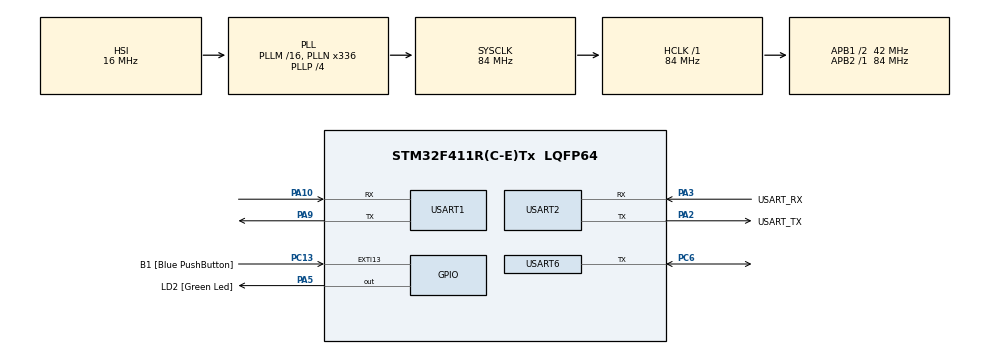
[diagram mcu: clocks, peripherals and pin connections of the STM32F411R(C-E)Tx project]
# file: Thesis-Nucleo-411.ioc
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Mcu.Family=STM32F4
Mcu.Name=STM32F411R(C-E)Tx
Mcu.Package=LQFP64
NVIC.PriorityGroup=NVIC_PRIORITYGROUP_0
PA10.Mode=Asynchronous
PA10.Signal=USART1_RX
PA13.GPIO_Label=TMS
PA13.Signal=SYS_JTMS-SWDIO
PA14.GPIO_Label=TCK
PA14.Signal=SYS_JTCK-SWCLK
PA2.GPIO_Label=USART_TX
PA2.Mode=Asynchronous
PA2.Signal=USART2_TX
PA3.GPIO_Label=USART_RX
PA3.Mode=Asynchronous
PA3.Signal=USART2_RX
PA5.GPIO_Label=LD2 [Green Led]
PA5.Signal=GPIO_Output
PA9.Mode=Asynchronous
PA9.Signal=USART1_TX
PB3.GPIO_Label=SWO
PB3.Signal=SYS_JTDO-SWO
PC13-ANTI_TAMP.GPIO_Label=B1 [Blue PushButton]
PC13-ANTI_TAMP.GPIO_ModeDefaultEXTI=GPIO_MODE_IT_FALLING
PC13-ANTI_TAMP.Signal=GPXTI13
PC14-OSC32_IN.Signal=RCC_OSC32_IN
PC15-OSC32_OUT.Signal=RCC_OSC32_OUT
PC6.Mode=Half_duplex(single_wire_mode)
PC6.Signal=USART6_TX
PH0\ -\ OSC_IN.Signal=RCC_OSC_IN
PH1\ -\ OSC_OUT.Signal=RCC_OSC_OUT
ProjectManager.HeapSize=0x200
ProjectManager.StackSize=0x400
ProjectManager.TargetToolchain=STM32CubeIDE
RCC.48MHZClocksFreq_Value=84000000
RCC.AHBFreq_Value=84000000
RCC.APB1CLKDivider=RCC_HCLK_DIV2
RCC.APB1Freq_Value=42000000
RCC.APB1TimFreq_Value=84000000
RCC.APB2Freq_Value=84000000
RCC.APB2TimFreq_Value=84000000
RCC.CortexFreq_Value=84000000
RCC.FLatency-AdvancedSettings=FLASH_LATENCY_2
RCC.HCLKFreq_Value=84000000
RCC.HSE_VALUE=8000000
RCC.HSI_VALUE=16000000
RCC.LSE_VALUE=32768
RCC.PLLN=336
RCC.PLLP=RCC_PLLP_DIV4
RCC.SYSCLKFreq_VALUE=84000000
RCC.SYSCLKSource=RCC_SYSCLKSOURCE_PLLCLK
RCC.VCOOutputFreq_Value=336000000
TIM10.Period=65535-1
TIM10.Prescaler=80-1
USART1.VirtualMode=VM_ASYNC
USART2.VirtualMode=VM_ASYNC
USART6.VirtualMode=VM_ASYNC
VP_TIM10_VS_ClockSourceINT.Mode=Enable_Timer
board=NUCLEO-F411RE

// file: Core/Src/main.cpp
/* USER CODE BEGIN Header */
/**
  ******************************************************************************
  * @file           : main.c
  * @brief          : Main program body
  ******************************************************************************
  * @attention
  *
  * <h2><center>&copy; Copyright (c) 2021 STMicroelectronics.
  * All rights reserved.</center></h2>
  *
  * This software component is licensed by ST under BSD 3-Clause license,
  * the "License"; You may not use this file except in compliance with the
  * License. You may obtain a copy of the License at:
  *                        opensource.org/licenses/BSD-3-Clause
  *
  ******************************************************************************
  */
/* USER CODE END Header */
#include "main.h"

/* USER CODE BEGIN Includes */
#include <string.h>

#include "tensorflow/lite/micro/kernels/micro_ops.h"
#include "tensorflow/lite/micro/micro_error_reporter.h"
#include "tensorflow/lite/micro/micro_interpreter.h"
#include "tensorflow/lite/micro/micro_mutable_op_resolver.h"
#include "tiny_conv_micro_features_model_data.h"

#include "audio_provider.h"
#include "yes_micro_features_data.h"
#include "command_responder.h"
#include "feature_provider.h"
#include "recognize_commands.h"
#include "micro_model_settings.h"
//#include "tensorflow/lite/version.h"
#include "sine_model.h"

#include "no_micro_features_data.h"
#include "yes_micro_features_data.h"
#include "doorknock_micro_features_data.h"
#include "gun_shot_micro_features_data.h"
#include "crying_baby_micro_features_data.h"
#include "dog_bark_micro_features_data.h"
#include "dog_micro_features_data.h"

//#define OLD_TENSORFLOW

#define MAX_FEATURE_NUMBER 1960

/* USER CODE END Includes */

TIM_HandleTypeDef htim10;

UART_HandleTypeDef huart1;
UART_HandleTypeDef huart2;
UART_HandleTypeDef huart6;

/* USER CODE BEGIN PV */

// Globals, used for compatibility with Arduino-style sketches.
namespace {
tflite::ErrorReporter* error_reporter = nullptr;
const tflite::Model* model = nullptr;
tflite::MicroInterpreter* interpreter = nullptr;
TfLiteTensor* model_input = nullptr;
int8_t* model_input_buffer = nullptr;
//FeatureProvider* feature_provider = nullptr;
//RecognizeCommands* recognizer = nullptr;
//int32_t previous_time = 0;

// Create an area of memory to use for input, output, and intermediate arrays.
// The size of this will depend on the model you're using, and may need to be
// determined by experimentation.
constexpr int kTensorArenaSize = 20 * 1024;
uint8_t tensor_arena[kTensorArenaSize];
}  // namespace

/* USER CODE END PV */

void SystemClock_Config(void);
static void MX_GPIO_Init(void);
static void MX_TIM10_Init(void);
static void MX_USART1_UART_Init(void);
static void MX_USART2_UART_Init(void);
static void MX_USART6_UART_Init(void);

void LogMCU(const char * message );

int main(void)
{

	/* USER CODE BEGIN 1 */
	char buf[50];
	int buf_len = 0;
    int test = 2;
//	uint32_t num_elements;
//	uint32_t timestamp;
//	float y_val;

	TfLiteStatus tflite_status;
  /* USER CODE END 1 */

  /* MCU Configuration--------------------------------------------------------*/

  /* Reset of all peripherals, Initializes the Flash interface and the Systick. */
  HAL_Init();

  /* Configure the system clock */
  SystemClock_Config();

  /* Initialize all configured peripherals */
  MX_GPIO_Init();
  MX_TIM10_Init();
  MX_USART1_UART_Init();
  MX_USART2_UART_Init();
  MX_USART6_UART_Init();
  /* USER CODE BEGIN 2 */

	// Set up logging. Google style is to avoid globals or statics because of
	  // lifetime uncertainty, but since this has a trivial destructor it's okay.
	  // NOLINTNEXTLINE(runtime-global-variables)
	  static tflite::MicroErrorReporter micro_error_reporter;
	  error_reporter = &micro_error_reporter;

	  LogMCU("\n*****Starting Sound Recognition Program for STM32 411RE*****\r\n");

	 // Map the model into a usable data structure. This doesn't involve any
	  // copying or parsing, it's a very lightweight operation.
//	  model = tflite::GetModel(g_tiny_conv_micro_features_model_data);
	  model = tflite::GetModel(g_speech_model_yes_no_data);

	  if (model->version() != TFLITE_SCHEMA_VERSION) {
	    TF_LITE_REPORT_ERROR(error_reporter,
	                         "Model provided is schema version %d not equal "
	                         "to supported version %d.",
	                         model->version(), TFLITE_SCHEMA_VERSION);
	  //  return;
	  }

	  // Pull in only the operation implementations we need.
	   // This relies on a complete list of all the ops needed by this graph.
	   // An easier approach is to just use the AllOpsResolver, but this will
	   // incur some penalty in code space for op implementations that are not
	   // needed by this graph.

	   static tflite::MicroMutableOpResolver<4> micro_op_resolver;

	   if (micro_op_resolver.AddDepthwiseConv2D() != kTfLiteOk) {
		   LogMCU(" ADD AddDepthwiseConv2D failed\r\n");
	   //  return;
	   }
	   if (micro_op_resolver.AddFullyConnected() != kTfLiteOk) {
		   LogMCU("AddFullyConnected failed\r\n");
	   //  return;
	   }
	   if (micro_op_resolver.AddSoftmax() != kTfLiteOk) {
		   LogMCU("AddSoftmax failed\r\n");
	  //   return;
	   }
	   if (micro_op_resolver.AddReshape() != kTfLiteOk) {
		   LogMCU("AddReshape failed\r\n");
	   //  return;
	   }

	   // Build an interpreter to run the model with.
	   tflite::MicroInterpreter interpreter(model, micro_op_resolver, tensor_arena, kTensorArenaSize, error_reporter);

	   TfLiteStatus allocate_status = interpreter.AllocateTensors();

	   if (allocate_status != kTfLiteOk) {
	     LogMCU("AllocateTensors() failed\r\n");
	    // return;
	   }

	   // Get information about the memory area to use for the model's input.
	   //  model_input = interpreter->input(0);
	     model_input = interpreter.input(0);

//	     	    buf_len = sprintf(buf,
//	     	                      "Output: %f | Duration: %lu\r\n",
//	     	    		          "Test 411RE\r\n");
//	     	                      y_val,
//	     	                      htim16.Instance->CNT - timestamp);
//	     	    HAL_UART_Transmit(&huart2, (uint8_t *)buf, buf_len, 100);
//

	    buf_len = sprintf(buf, "model dim size=%d \r\n", model_input->dims->size);
	    HAL_UART_Transmit(&huart2, (uint8_t *)buf, buf_len, 100);

	    buf_len = sprintf(buf, "model dim data0=%d \r\n", model_input->dims->data[0]);
	    HAL_UART_Transmit(&huart2, (uint8_t *)buf, buf_len, 100);

	    buf_len = sprintf(buf, "model dim data1=%d \r\n",model_input->dims->data[1]);
	    HAL_UART_Transmit(&huart2, (uint8_t *)buf, buf_len, 100);

	    buf_len = sprintf(buf, "model type=%d \r\n", model_input->type);
	    HAL_UART_Transmit(&huart2, (uint8_t *)buf, buf_len, 100);

//			 error_reporter->Report("model dim size=%d", model_input->dims->size);
//			 error_reporter->Report("model dim data0=%d", model_input->dims->data[0]);
//			 error_reporter->Report("model dim data1=%d", model_input->dims->data[1]);
//			 error_reporter->Report("model dim data2=%d", model_input->dims->data[2]);
//			 error_reporter->Report("model type=%d", model_input->type);

	     if ((model_input->dims->size != 2) || (model_input->dims->data[0] != 1) ||
	         (model_input->dims->data[1] !=
	          (kFeatureSliceCount * kFeatureSliceSize)) ||
	         (model_input->type != kTfLiteInt8)) {
	       TF_LITE_REPORT_ERROR(error_reporter,
	                            "Bad input tensor parameters in model");
	      // return;
	     }

	  //   model_input_buffer = model_input->data.int8;

//	     error_reporter->Report("model dim size=%d", model_input->dims->size);
//	     error_reporter->Report("model dim data0=%d", model_input->dims->data[0]);
//	     error_reporter->Report("model dim data1=%d", model_input->dims->data[1]);
//	     error_reporter->Report("model dim data2=%d", model_input->dims->data[2]);
//	     error_reporter->Report("model type=%d", model_input->type);
//
//
//	     if ((model_input->dims->size != 4) || (model_input->dims->data[0] != 1) ||
//	         (model_input->dims->data[1] != kFeatureSliceCount) ||
//	         (model_input->dims->data[2] != kFeatureSliceSize) ||
//	         (model_input->type != kTfLiteUInt8)) {
//	       error_reporter->Report("Bad input tensor parameters in model");
	 //      return;
	//     }

	     const uint8_t* features_data =  g_yes_micro_f2e59fea_nohash_1_data;
	    // const uint8_t* features_data =  g_no_micro_f9643d42_nohash_4_data;

	     for (int i = 0; i < model_input->bytes; ++i) {
	         model_input->data.uint8[i] = features_data[i];
	      //model_input->data.uint8[i] = **features_data;
	     //   model_input->data.uint8[i] = sounds_array[1];

	      }
//	     for (int i = 0; i < BABY_TOTAL_FILE_NUMBER ; i++)
//	     {
//	         error_reporter->Report("Test Number is %d", i);
//	         error_reporter->Report("*****************");
//	         error_reporter->Report("Testing input data crying baby");
//
//
//	       for (int j = 0; j < (int)model_input->bytes; j++) {
//	         //   model_input->data.uint8[j] =  g_crying_baby_sounds_arrays[i][j];
//	         //   model_input->data.uint8[j] =  g_dog_bark_sounds_arrays[i][j];
//	         //   model_input->data.uint8[j] =  g_door_knock_sounds_arrays[i][j];
//	         //   model_input->data.uint8[j] =  g_gun_shot_sounds_arrays[i][j];
//	         //     model_input->data.uint8[j] =  g_clapping_sounds_arrays[i][j];
//	         //     model_input->data.uint8[j] =  g_clock_alarm_sounds_arrays[i][j];
//	        //      model_input->data.uint8[j] =  g_coughing_sounds_arrays[i][j];
//	              model_input->data.uint8[j] =  g_dog_sounds_arrays[i][j];
//
//	         }

	       // Run the model on the spectrogram input and make sure it succeeds.
	       TfLiteStatus invoke_status = interpreter.Invoke();
	       if (invoke_status != kTfLiteOk) {
	         LogMCU("Invoke failed");
//	       //  return;
	       }

	       // Obtain a pointer to the output tensor
	     //  TfLiteTensor* output = interpreter->output(0);
	       TfLiteTensor* output = interpreter.output(0);
	   //    error_reporter->Report("output: %d", output->data.uint8[0]);

		   const int kSilenceIndex = 0;
		   const int kUnknownIndex = 1;
		   const int kyesIndex = 2;
		   const int knoIndex = 3;
//	       // There are four possible classes in the output, each with a score.
//	       const int kSilenceIndex = 0;
//	       const int kUnknownIndex = 1;
//	       const int kcarhornIndex = 2;
//	       const int kCoughingIndex = 3;
//	       const int kClappingIndex = 4;
//	       const int kGunShotIndex = 5;
//	       const int kCryingBabyIndex = 6;
//	       const int kDoorKnockIndex = 7;
//	       const int kSheilaIndex = 8;
//	       const int kDogBarkIndex = 9;
//
//
//	       // Make sure that the expected "Yes" score is higher than the other classes.
	       uint8_t silence_score = output->data.uint8[kSilenceIndex];
	       uint8_t unknown_score = output->data.uint8[kUnknownIndex];
	       uint8_t yes_score = output->data.uint8[kyesIndex];
	       uint8_t no_score = output->data.uint8[knoIndex];
////	       uint8_t car_horn_score = output->data.uint8[kcarhornIndex];
//	       uint8_t coughing_score = output->data.uint8[kCoughingIndex];
//	       uint8_t clapping_score = output->data.uint8[kClappingIndex];
//	       uint8_t gunshot_score = output->data.uint8[kGunShotIndex];
//	       uint8_t crying_baby_score = output->data.uint8[kCryingBabyIndex];
//	       uint8_t door_knock_score = output->data.uint8[kDoorKnockIndex];
//	       uint8_t sheila_score = output->data.uint8[kSheilaIndex];
//	       uint8_t dog_bark_score = output->data.uint8[kDogBarkIndex];
//

		    buf_len = sprintf(buf, "Softmax: silence=%d, unknown=%d, yes=%d, no=%d \r\n", silence_score, unknown_score, yes_score, no_score);
		    HAL_UART_Transmit(&huart2, (uint8_t *)buf, buf_len, 100);
//	      // error_reporter->Report("Softmax: silence=%d, unknown=%d, yes=%d, no=%d", silence_score, unknown_score, yes_score, no_score);
//	       //"car_horn,coughing,clapping,gun_shot,crying_baby,door_knock,clock_alarm,dog"
//	       error_reporter->Report("Softmax: silence=%d, unknown=%d, car horn=%d, coughing=%d,  \
//	       clapping=%d, gunshot=%d, crying_baby=%d, door_knock=%d, clock alarm=%d, dog=%d"
//	       ,silence_score, unknown_score, kcarhornIndex, coughing_score, clapping_score,
//	       gunshot_score, crying_baby_score, door_knock_score,
//	       sheila_score, dog_bark_score);
//
//	     }
//
//	       error_reporter->Report("\n*****Martin is classifying sounds*****");
//	       error_reporter->Report("\n*****End of Sound Recognition Classifier for Sparfun Edge Program*****");
/* USER CODE END 2 */

  /* Infinite loop */
  /* USER CODE BEGIN WHILE */
  while (1)
  {

	   // Print output of neural network along with inference time (microseconds)
//	    buf_len = sprintf(buf,
//	                      "Output: %f | Duration: %lu\r\n",
//	    		          "Test 411RE\r\n");
//	                      y_val,
//	                      htim16.Instance->CNT - timestamp);
//	    HAL_UART_Transmit(&huart2, (uint8_t *)buf, buf_len, 100);

//	    buf_len = sprintf(buf,"Test 411RE\r\n");
//	    HAL_UART_Transmit(&huart2, (uint8_t *)buf, buf_len, 100);

	    LogMCU(" testing Martin\r\n");

	    // Wait before doing it again
	    HAL_Delay(1000);
    /* USER CODE END WHILE */

  }
}

void LogMCU(const char * message )
{
	char buf[100];
	int buf_len = 0;

	buf_len = sprintf(buf, message);
    HAL_UART_Transmit(&huart2, (uint8_t *)buf, buf_len, 100);
}
void SystemClock_Config(void)
{
  RCC_OscInitTypeDef RCC_OscInitStruct = {0};
  RCC_ClkInitTypeDef RCC_ClkInitStruct = {0};

  /** Configure the main internal regulator output voltage
  */
  __HAL_RCC_PWR_CLK_ENABLE();
  __HAL_PWR_VOLTAGESCALING_CONFIG(PWR_REGULATOR_VOLTAGE_SCALE1);
  /** Initializes the RCC Oscillators according to the specified parameters
  * in the RCC_OscInitTypeDef structure.
  */
  RCC_OscInitStruct.OscillatorType = RCC_OSCILLATORTYPE_HSI;
  RCC_OscInitStruct.HSIState = RCC_HSI_ON;
  RCC_OscInitStruct.HSICalibrationValue = RCC_HSICALIBRATION_DEFAULT;
  RCC_OscInitStruct.PLL.PLLState = RCC_PLL_ON;
  RCC_OscInitStruct.PLL.PLLSource = RCC_PLLSOURCE_HSI;
  RCC_OscInitStruct.PLL.PLLM = 16;
  RCC_OscInitStruct.PLL.PLLN = 336;
  RCC_OscInitStruct.PLL.PLLP = RCC_PLLP_DIV4;
  RCC_OscInitStruct.PLL.PLLQ = 4;
  if (HAL_RCC_OscConfig(&RCC_OscInitStruct) != HAL_OK)
  {
    Error_Handler();
  }
  /** Initializes the CPU, AHB and APB buses clocks
  */
  RCC_ClkInitStruct.ClockType = RCC_CLOCKTYPE_HCLK|RCC_CLOCKTYPE_SYSCLK
                              |RCC_CLOCKTYPE_PCLK1|RCC_CLOCKTYPE_PCLK2;
  RCC_ClkInitStruct.SYSCLKSource = RCC_SYSCLKSOURCE_PLLCLK;
  RCC_ClkInitStruct.AHBCLKDivider = RCC_SYSCLK_DIV1;
  RCC_ClkInitStruct.APB1CLKDivider = RCC_HCLK_DIV2;
  RCC_ClkInitStruct.APB2CLKDivider = RCC_HCLK_DIV1;

  if (HAL_RCC_ClockConfig(&RCC_ClkInitStruct, FLASH_LATENCY_2) != HAL_OK)
  {
    Error_Handler();
  }
}

static void MX_TIM10_Init(void)
{

  htim10.Instance = TIM10;
  htim10.Init.Prescaler = 80-1;
  htim10.Init.CounterMode = TIM_COUNTERMODE_UP;
  htim10.Init.Period = 65535-1;
  htim10.Init.ClockDivision = TIM_CLOCKDIVISION_DIV1;
  htim10.Init.AutoReloadPreload = TIM_AUTORELOAD_PRELOAD_DISABLE;
  if (HAL_TIM_Base_Init(&htim10) != HAL_OK)
  {
    Error_Handler();
  }

}

static void MX_USART1_UART_Init(void)
{

  huart1.Instance = USART1;
  huart1.Init.BaudRate = 115200;
  huart1.Init.WordLength = UART_WORDLENGTH_8B;
  huart1.Init.StopBits = UART_STOPBITS_1;
  huart1.Init.Parity = UART_PARITY_NONE;
  huart1.Init.Mode = UART_MODE_TX_RX;
  huart1.Init.HwFlowCtl = UART_HWCONTROL_NONE;
  huart1.Init.OverSampling = UART_OVERSAMPLING_16;
  if (HAL_UART_Init(&huart1) != HAL_OK)
  {
    Error_Handler();
  }

}

static void MX_USART2_UART_Init(void)
{

  huart2.Instance = USART2;
  huart2.Init.BaudRate = 115200;
  huart2.Init.WordLength = UART_WORDLENGTH_8B;
  huart2.Init.StopBits = UART_STOPBITS_1;
  huart2.Init.Parity = UART_PARITY_NONE;
  huart2.Init.Mode = UART_MODE_TX_RX;
  huart2.Init.HwFlowCtl = UART_HWCONTROL_NONE;
  huart2.Init.OverSampling = UART_OVERSAMPLING_16;
  if (HAL_UART_Init(&huart2) != HAL_OK)
  {
    Error_Handler();
  }

}

static void MX_USART6_UART_Init(void)
{

  huart6.Instance = USART6;
  huart6.Init.BaudRate = 115200;
  huart6.Init.WordLength = UART_WORDLENGTH_8B;
  huart6.Init.StopBits = UART_STOPBITS_1;
  huart6.Init.Parity = UART_PARITY_NONE;
  huart6.Init.Mode = UART_MODE_TX_RX;
  huart6.Init.HwFlowCtl = UART_HWCONTROL_NONE;
  huart6.Init.OverSampling = UART_OVERSAMPLING_16;
  if (HAL_HalfDuplex_Init(&huart6) != HAL_OK)
  {
    Error_Handler();
  }

}

static void MX_GPIO_Init(void)
{
  GPIO_InitTypeDef GPIO_InitStruct = {0};

  /* GPIO Ports Clock Enable */
  __HAL_RCC_GPIOC_CLK_ENABLE();
  __HAL_RCC_GPIOH_CLK_ENABLE();
  __HAL_RCC_GPIOA_CLK_ENABLE();
  __HAL_RCC_GPIOB_CLK_ENABLE();

  /*Configure GPIO pin Output Level */
  HAL_GPIO_WritePin(LD2_GPIO_Port, LD2_Pin, GPIO_PIN_RESET);

  /*Configure GPIO pin : B1_Pin */
  GPIO_InitStruct.Pin = B1_Pin;
  GPIO_InitStruct.Mode = GPIO_MODE_IT_FALLING;
  GPIO_InitStruct.Pull = GPIO_NOPULL;
  HAL_GPIO_Init(B1_GPIO_Port, &GPIO_InitStruct);

  /*Configure GPIO pin : LD2_Pin */
  GPIO_InitStruct.Pin = LD2_Pin;
  GPIO_InitStruct.Mode = GPIO_MODE_OUTPUT_PP;
  GPIO_InitStruct.Pull = GPIO_NOPULL;
  GPIO_InitStruct.Speed = GPIO_SPEED_FREQ_LOW;
  HAL_GPIO_Init(LD2_GPIO_Port, &GPIO_InitStruct);

}

/* USER CODE BEGIN 4 */
//extern "C" void DebugLog(const char* s)
//{
//  HAL_UART_Transmit(&huart1, (uint8_t *)s, strlen(s), 100);
//}
/* USER CODE END 4 */

void Error_Handler(void)
{
  __disable_irq();
  while (1)
  {
  }
}

/************************ (C) COPYRIGHT STMicroelectronics *****END OF FILE****/
